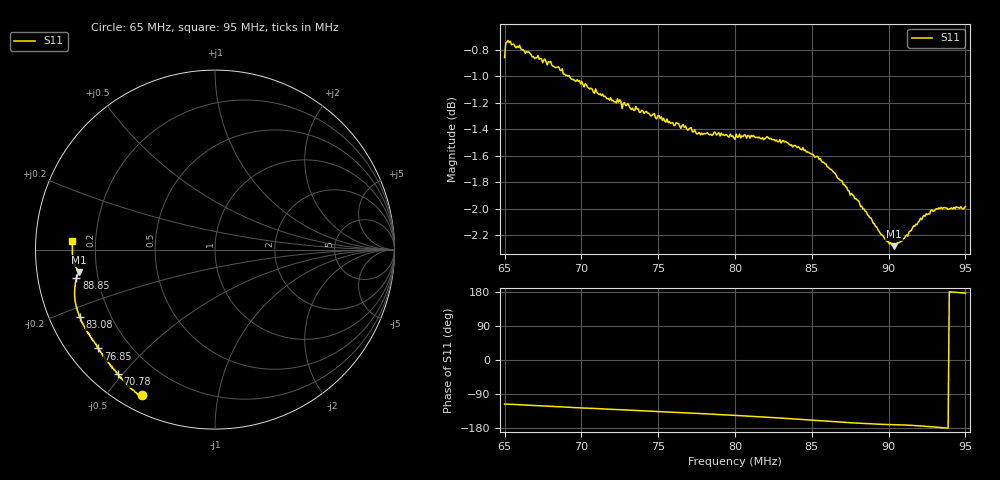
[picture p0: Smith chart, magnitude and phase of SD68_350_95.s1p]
! NanoVNA-App
! Date: 2025-08-09 13:06:16
! Start: 65MHz Stop: 95MHz Points: 401
! S-Parameter data: F S11
# Hz S RI R 50
!  Frequency  S11_Real  S11_Imag
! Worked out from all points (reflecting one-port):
!   401 points, 65 MHz to 95 MHz, reference 50 ohm
!   lowest |S11| = -2.3 dB at 90.35 MHz (marker M1), VSWR 7.66, Z = 6.57 - j4.04 ohm
!   phase of S11 starts at -116 deg and turns -67 deg over the sweep
!   S11 on the Smith chart (normalised r, x): 65 MHz: 0.07, -0.62; 70.78 MHz: 0.08, -0.49; 76.85 MHz: 0.09, -0.36; 83.08 MHz: 0.09, -0.23; 88.85 MHz: 0.12, -0.10; 95 MHz: 0.11, +0.03
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6.5e7  -0.4041 -0.8109
6.5225e7  -0.412 -0.8221
6.53e7  -0.4121 -0.8201
6.7925e7  -0.4793 -0.7647
6.875e7  -0.4984 -0.746
6.9725e7  -0.5216 -0.7195
7.0775e7  -0.5398 -0.6939
7.1825e7  -0.5604 -0.6694
7.25e7  -0.5735 -0.6586
7.625e7  -0.6406 -0.5673
7.685e7  -0.6497 -0.5504
7.9025e7  -0.6848 -0.4973
8e7  -0.7017 -0.4685
8.1275e7  -0.725 -0.4352
8.3075e7  -0.7537 -0.3762
8.375e7  -0.7619 -0.3496
8.555e7  -0.7809 -0.2809
8.645e7  -0.7826 -0.2442
8.75e7  -0.778 -0.2024
8.885e7  -0.7724 -0.1568
8.9525e7  -0.7642 -0.1382
9.035e7  -0.7586 -0.1257
9.125e7  -0.7682 -0.1079
9.215e7  -0.7829 -0.079
9.29e7  -0.7911 -0.047
9.3575e7  -0.7948 -0.019
9.4775e7  -0.7937 0.0397
9.5e7  -0.7944 0.0487
